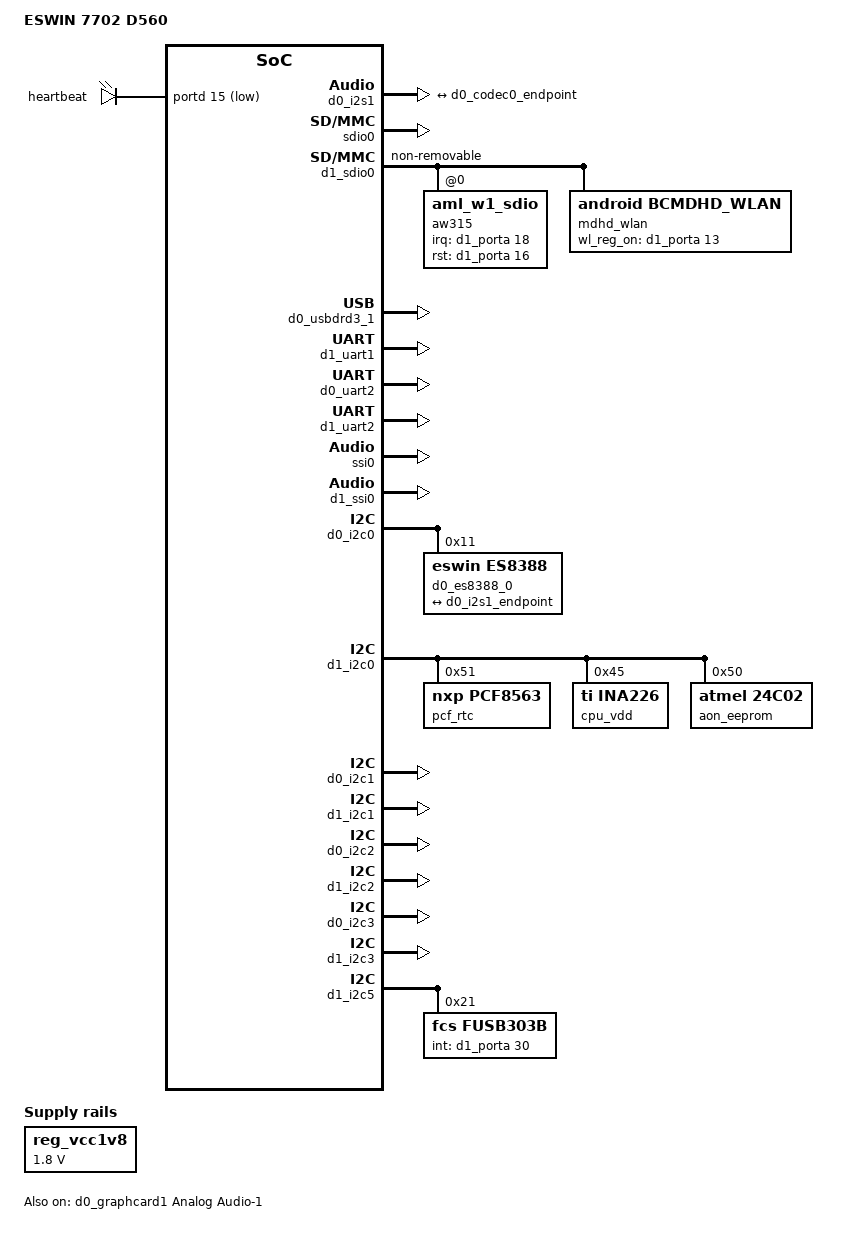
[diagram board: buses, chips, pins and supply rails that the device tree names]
// SPDX-License-Identifier: GPL-2.0
/*
 * Device Tree file for Eswin EIC7702 SoC.
 *
 * Copyright 2024, Beijing ESWIN Computing Technology Co., Ltd.. All rights reserved.
 * SPDX-License-Identifier: GPL-2.0
 *
 * This program is free software: you can redistribute it and/or modify
 * it under the terms of the GNU General Public License as published by
 * the Free Software Foundation, version 2.
 *
 * This program is distributed in the hope that it will be useful,
 * but WITHOUT ANY WARRANTY; without even the implied warranty of
 * MERCHANTABILITY or FITNESS FOR A PARTICULAR PURPOSE.  See the
 * GNU General Public License for more details.
 *
 * You should have received a copy of the GNU General Public License
 * along with this program.  If not, see <https://www.gnu.org/licenses/>.
 */

/dts-v1/;

#include "eic7702-som560.dtsi"

/ {
	#address-cells = <2>;
	#size-cells = <2>;
	model = "ESWIN 7702 D560";

	/* die0 gpio111 system led */
	leds {
		compatible = "gpio-leds";
		pinctrl-names = "default";
		pinctrl-0 = <&pinctrl_die0_gpio111_default>;

		gpio-111 {
			gpios = <&portd 15 GPIO_ACTIVE_LOW>;
			label = "heartbeat";
			linux,default-trigger = "heartbeat";
		};
	};
	reg_vcc1v8: vcc1v8 {
		compatible = "regulator-fixed";
		regulator-name = "vcc1v8";
		regulator-min-microvolt = <1800000>;
		regulator-max-microvolt = <1800000>;
	};
};

&d0_i2s1 {
	status = "okay";
	numa-node-id = <0>;
	d0_i2s1_port: port {
		d0_i2s1_endpoint: endpoint {
			remote-endpoint = <&d0_codec0_endpoint>;
			dai-format = "i2s";
		};
	};
};

&sdio0 {
	/* sd card */
	status = "okay";
	delay_code = <0x55>;
	drive-impedance-ohm = <33>;
	enable-cmd-pullup;
	enable-data-pullup;
	disable-wp;
	no-sdio;
	no-mmc;
};

&d1_sdio0 {
	/* wifi module */
	status = "okay";
	delay_code = <0x29>;
	drive-impedance-ohm = <33>;
	enable-cmd-pullup;
	enable-data-pullup;
	keep-power-in-suspend;
	non-removable;
	no-sd;
	no-mmc;
	vqmmc-supply = <&reg_vcc1v8>;
	aw315:wifi_aw3155@0 {
		compatible = "aml_w1_sdio";
		reg = <0x0>;
		interrupt-parent = <&d1_porta>;
		interrupts = <18 IRQ_TYPE_LEVEL_LOW>;
		pinctrl-names = "default", "default";
		pinctrl-0 = <&pinctrl_die1_gpio18_default>;
		pinctrl-1 = <&pinctrl_die1_gpio16_default>;
		irq-gpios = <&d1_porta 18 GPIO_ACTIVE_HIGH>;
		rst-gpios = <&d1_porta 16 GPIO_ACTIVE_HIGH>;
	};
	mdhd_wlan {
		compatible = "android,bcmdhd_wlan";
		pinctrl-names = "default";
		pinctrl-0 = <&pinctrl_die1_gpio13_default>;
		gpio_wl_reg_on = <&d1_porta 13 GPIO_ACTIVE_HIGH>;
	};
};

&d0_usbdrd3_1 {
	status = "okay";
	pinctrl-names = "default";
	pinctrl-0 = <&pinctrl_die0_gpio14_default>;
	hub-rst-gpios = <&porta 14 GPIO_ACTIVE_HIGH>;
};

&d1_uart1 {
	/* BT M.2 KEY-E */
	status = "okay";
};

&d0_uart2 {
	/* connect mcu */
	status = "okay";
};

&d1_uart2 {
	/* pin header */
	status = "okay";
};

&ssi0 {
	/* pin header */
	status = "okay";
};
&d1_ssi0 {
	/* pin header */
	status = "okay";
};

&d0_graphcard1 {
	status = "okay";
	label = "Analog Audio-1";
	dais = <&d0_i2s1_port>;
};

&d0_i2c0 {
	/* codec es8388 */
	status = "okay";
	d0_es8388_0: es8388-0@11 {
		compatible = "eswin,es8388";
		reg = <0x11>;
		#sound-dai-cells = <0>;
		port {
			d0_codec0_endpoint: endpoint {
				system-clock-frequency = <12288000>;
				remote-endpoint = <&d0_i2s1_endpoint>;
			};
		};
	};
};

&d1_i2c0 {
	/* eeprom(at24c02c) & rtc(pcf8563) & power monitor(ina236) */
	status = "okay";
	pcf_rtc:rtc@51 {
		compatible = "nxp,pcf8563";
		reg = <0x51>;
	};
	ina226@45 {
		compatible = "ti,ina226";
		#io-channel-cells = <1>;
		label = "cpu_vdd";
		reg = <0x45>;
		shunt-resistor = <1000>;
	};
	aon_eeprom@50 {
		compatible = "atmel,24c02";
		reg = <0x50>;
	};
};

&d0_i2c1 {
	/* pin header */
	status = "okay";
};
&d1_i2c1 {
	/* ch347 */
	status = "okay";
};

&d0_i2c2 {
	/* d0 dsi*/
	status = "ok";
};

&d1_i2c2 {
	/* d1 dsi */
	status = "ok";
};

&d0_i2c3 {
	/* d0 csi0-1 */
	status = "okay";
};
&d1_i2c3 {
	/* d1 csi0-1 */
	status = "okay";
};

&d0_i2c4 {
	/* d0 csi2-3 */
};
&d1_i2c4 {
	/* d1 csi2-3 */
};

&d0_i2c5 {
	/* pin header */
};
&d1_i2c5 {
	/* cc logic fusb303b */
	fusb303b@21 {
		compatible = "fcs,fusb303b";
		status = "okay";
		reg = <0x21>;
		eswin,syscfg = <&d1_sys_con 0x3C0 12>;

		pinctrl-names = "default";
		pinctrl-0 = <&pinctrl_die1_gpio30_default>;
		int-gpios = <&d1_porta 30 GPIO_ACTIVE_HIGH>;
		connector {
			compatible = "usb-c-connector";
			label = "USB-C";
			data-role = "host";
		};
	};
};

&d0_i2c8 {
	/* pin header */
};
&d1_i2c8 {
	/* pin header */
};

&d0_i2c9 {
	/* pin header */
};
&d1_i2c9 {
	/* pin header */
};

&pvt0 {
	status = "disabled";
};
&d1_pvt0 {
	status = "disabled";
};

&wdt0 {
	status = "disabled";
};
&d1_wdt0 {
	status = "disabled";
};

&wdt1 {
	status = "disabled";
};
&d1_wdt1 {
	status = "disabled";
};

&wdt2 {
	status = "disabled";
};
&d1_wdt2 {
	status = "disabled";
};

&wdt3 {
	status = "disabled";
};
&d1_wdt3 {
	status = "disabled";
};

&timer1 {
	status = "disabled";
};
&d1_timer1 {
	status = "disabled";
};

&pinctrl {
	status = "okay";
	pinctrl-names = "default";
	pinctrl-0 = <&pinctrl_die0_gpio5_default &pinctrl_die0_gpio6_default &pinctrl_die0_gpio12_default &pinctrl_die0_gpio35_default
				 &pinctrl_die0_gpio39_default &pinctrl_die0_gpio40_default &pinctrl_die0_gpio41_default &pinctrl_die0_gpio46_default
				 &pinctrl_die0_gpio47_default &pinctrl_die0_gpio54_default &pinctrl_die0_gpio55_default &pinctrl_die0_gpio73_default
				 &pinctrl_die0_gpio75_default &pinctrl_die0_gpio79_default &pinctrl_die0_gpio81_default &pinctrl_die0_gpio36_default
				 &pinctrl_die0_gpio37_default &pinctrl_die0_gpio38_default &pinctrl_die0_gpio74_default &pinctrl_die0_gpio92_default
				 &pinctrl_die0_gpio93_default>;
	

    /* pin header default function for GPIO
       D0_SPI1 (CS0,SCLK,MOSI,MISO,D2,D3): GPIO 35,36,37,38,39,40
	   D0_I2C1 (SCL,SDA): GPIO 46,47
       D0_I2C5 (SCL,SDA): GPIO 54,55
	   D1_SPI1 (CS0,SCLK,D0,D1,D2): GPIO 35,36,37,38,39
       D1_UART3(TX,RX): GPIO 92,93
	   D0_UART3(TX,RX): GPIO 92,93
    */
};

&d1_pinctrl {
	status = "okay";
	pinctrl-names = "default";
	pinctrl-0 = <&pinctrl_die1_gpio35_default &pinctrl_die1_gpio36_default &pinctrl_die1_gpio37_default &pinctrl_die1_gpio38_default
				 &pinctrl_die1_gpio39_default &pinctrl_die1_gpio92_default &pinctrl_die1_gpio93_default>;
};

/* die0 GPIO Function Description

	gpio0   : pcie prstn(I)
	gpio11  : tmp alert(I)
	gpio13  : tf card detect(I)
	gpio18  : ina226 alert(I)
	gpio25  : front panel audio insert detection(I)
	gpio27  : sata act(O)
	gpio28  : to mcu pb5
	gpio29  : gphy0 resetn(O)
	gpio34  : gphy1 resetn(O)
	gpio42  : usb0 pwren(O)
	gpio43  : usb1 pwren(O)
	gpio111 : sys run led(O)
*/
/* die1 GPIO Function Description

	gpio0   : pcie prstn(I)
	gpio5   : classis fan1 fantach
	gpio6   : classis fan2 fantach
	gpio27  : to mcu pb3
	gpio28  : to mcu pb4
	gpio29  : gphy0 resetn(O)
	gpio34  : gphy1 resetn(O)
	gpio42  : usb0 pwren(O)
	gpio43  : usb1 pwren(O)
*/
